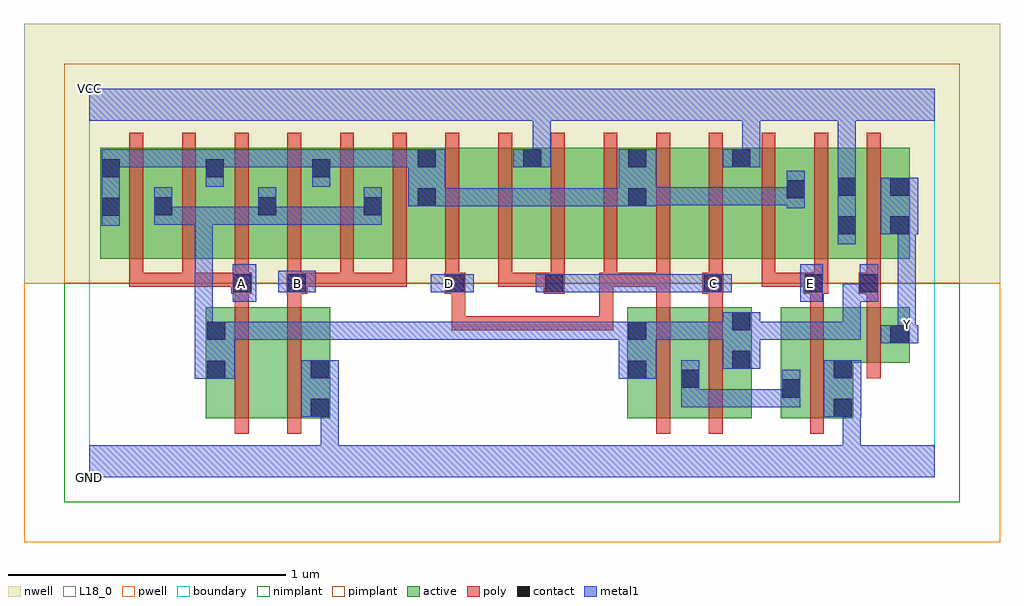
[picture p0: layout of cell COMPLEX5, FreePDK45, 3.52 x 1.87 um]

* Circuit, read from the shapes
.subckt COMPLEX5 A B C D E GND VCC Y
M1 n1 A n2 VSUBS nfet w=0.4u l=0.05u
M2 GND B n1 VSUBS nfet w=0.4u l=0.05u
M3 n3 D n2 VSUBS nfet w=0.4u l=0.05u
M4 n2 C n3 VSUBS nfet w=0.4u l=0.05u
M5 GND E n3 VSUBS nfet w=0.4u l=0.05u
M6 Y n2 GND VSUBS nfet w=0.2u l=0.05u
M7 n2 A n4 n5 pfet w=0.4u l=0.05u m=3
M8 n4 B n2 n5 pfet w=0.4u l=0.05u m=3
M9 n6 D n4 n5 pfet w=0.4u l=0.05u
M10 VCC C n6 n5 pfet w=0.4u l=0.05u
M11 n7 C VCC n5 pfet w=0.4u l=0.05u
M12 n4 D n7 n5 pfet w=0.4u l=0.05u
M13 n8 D n4 n5 pfet w=0.4u l=0.05u
M14 VCC C n8 n5 pfet w=0.4u l=0.05u
M15 n4 E VCC n5 pfet w=0.4u l=0.05u m=2
M16 Y n2 VCC n5 pfet w=0.4u l=0.05u
.ends

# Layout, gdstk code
import gdstk
lib = gdstk.Library(unit=1e-6, precision=1e-09)
def R(c, l, rs):  # rectangles x0, y0, x1, y1
    for r in rs: c.add(gdstk.rectangle(r[:2], r[2:], *l))
def A(c, l, x, y, w, h, nx, ny, dx, dy):  # array of equal rectangles
    R(c, l, [(x+i*dx, y+j*dy, x+i*dx+w, y+j*dy+h) for i in range(nx) for j in range(ny)])
active = (1, 0)
pwell = (2, 0)
nwell = (3, 0)
nimplant = (4, 0)
pimplant = (5, 0)
poly = (9, 0)
contact = (10, 0)
metal1 = (11, 0)
L18_0 = (18, 0)
boundary = (235, 0)

complex5 = lib.new_cell('COMPLEX5')
A(complex5, active, 1.18, 0.787, 0.225, 0.4, 3, 1, 0.38, 0)
A(complex5, active, 1.18, 0.907, 0.075, 0.28, 3, 1, 0.38, 0)
R(complex5, active, [(0.42,0.212,0.645,0.612), (0.645,0.212,0.87,0.612), (0.795,0.212,0.87,0.612), (1.94,0.212,2.205,0.612), (2.13,0.212,2.39,0.612), (2.495,0.212,2.755,0.612), (2.68,0.212,2.755,0.597), (0.42,0.245,0.495,0.612), (1.94,0.245,2.015,0.612), (2.13,0.245,2.205,0.492), (2.315,0.245,2.39,0.612), (2.495,0.245,2.57,0.612), (2.68,0.412,2.96,0.612), (2.885,0.412,2.96,0.612), (0.04,0.787,0.305,1.187), (0.04,0.787,0.115,1.155), (0.23,0.787,0.49,1.187), (0.415,0.787,0.68,1.187), (0.605,0.787,0.875,1.187), (0.8,0.787,1.06,1.187), (0.985,0.787,1.255,1.187), (1.405,0.787,1.635,1.187), (1.785,0.787,2.015,1.187), (2.165,0.787,2.39,1.187), (2.315,0.787,2.585,1.187), (2.51,0.787,2.77,1.187), (2.695,0.787,2.96,1.187), (2.885,0.787,2.96,1.155), (0.415,0.802,0.49,1.155), (0.8,0.802,0.875,1.155), (2.315,0.802,2.39,1.187), (2.695,0.87,2.77,1.155), (0.23,0.907,0.305,1.07), (0.605,0.907,0.68,1.07), (0.985,0.907,1.06,1.07), (2.51,0.907,2.585,1.155)])
R(complex5, pwell, [(-0.235,-0.235,3.285,0.7)])
R(complex5, nwell, [(-0.235,0.7,3.285,1.635)])
R(complex5, nimplant, [(-0.09,-0.09,3.14,0.7)])
R(complex5, pimplant, [(-0.09,0.7,3.14,1.49)])
A(complex5, poly, 0.145, 0.687, 0.05, 0.095, 15, 1, 0.19, 0)
A(complex5, poly, 0.145, 0.732, 0.05, 0.51, 15, 1, 0.19, 0)
R(complex5, poly, [(0.525,0.157,0.575,0.667), (0.715,0.157,0.765,0.667), (2.045,0.157,2.095,0.667), (2.235,0.157,2.285,0.667), (2.6,0.157,2.65,0.667), (2.805,0.357,2.855,0.667), (1.307,0.53,1.357,0.58), (1.307,0.53,1.357,0.58), (1.307,0.53,1.357,0.58), (1.307,0.53,1.357,0.58), (1.307,0.53,1.357,0.58), (1.307,0.53,1.557,0.58), (1.307,0.53,1.357,0.712), (1.507,0.53,1.557,0.58), (1.507,0.53,1.557,0.58), (1.507,0.53,1.557,0.58), (1.507,0.53,1.69,0.58), (1.64,0.53,1.69,0.58), (1.64,0.53,1.89,0.58), (1.84,0.53,1.89,0.58), (1.84,0.53,1.89,0.58), (1.84,0.53,1.89,0.58), (1.84,0.53,1.89,0.58), (1.84,0.53,1.89,0.58), (1.84,0.53,1.89,0.737), (0.525,0.617,0.575,0.712), (0.715,0.617,0.765,0.712), (2.045,0.617,2.095,0.737), (2.235,0.617,2.285,0.712), (2.6,0.617,2.65,0.712), (2.805,0.617,2.855,0.712), (0.512,0.662,0.587,0.737), (0.712,0.662,0.787,0.737), (1.282,0.662,1.357,0.737), (1.64,0.662,1.715,0.737), (2.212,0.662,2.287,0.737), (2.575,0.662,2.665,0.737), (2.775,0.662,2.855,0.737), (0.145,0.687,0.195,0.737), (0.145,0.687,0.195,0.737), (0.145,0.687,0.195,0.737), (0.145,0.687,0.385,0.737), (0.335,0.687,0.385,0.737), (0.335,0.687,0.385,0.737), (0.335,0.687,0.385,0.737), (0.335,0.687,0.562,0.737), (0.737,0.687,0.787,0.737), (0.737,0.687,0.787,0.737), (0.737,0.687,0.955,0.737), (0.905,0.687,0.955,0.737), (0.905,0.687,1.145,0.737), (1.095,0.687,1.145,0.737), (1.095,0.687,1.145,0.737), (1.095,0.687,1.145,0.737), (1.475,0.687,1.525,0.737), (1.475,0.687,1.69,0.737), (1.64,0.687,1.69,0.737), (1.64,0.687,1.69,0.737), (1.84,0.687,1.905,0.737), (1.855,0.687,2.095,0.737), (2.045,0.687,2.095,0.737), (2.045,0.687,2.095,0.737), (2.045,0.687,2.095,0.737), (2.425,0.687,2.475,0.737), (2.425,0.687,2.625,0.737), (2.575,0.687,2.625,0.737), (2.575,0.687,2.625,0.737)])
A(complex5, contact, 1.185, 1.117, 0.065, 0.065, 3, 1, 0.38, 0)
R(complex5, contact, [(0.8,0.217,0.865,0.282), (2.685,0.217,2.75,0.282), (2.5,0.287,2.565,0.352), (2.135,0.322,2.2,0.387), (0.425,0.355,0.49,0.42), (1.945,0.355,2.01,0.42), (0.8,0.357,0.865,0.422), (2.685,0.357,2.75,0.422), (2.32,0.39,2.385,0.455), (2.89,0.482,2.955,0.547), (0.425,0.495,0.49,0.56), (1.945,0.495,2.01,0.56), (2.32,0.53,2.385,0.595), (0.517,0.667,0.582,0.732), (0.717,0.667,0.782,0.732), (1.287,0.667,1.352,0.732), (1.645,0.667,1.71,0.732), (2.217,0.667,2.282,0.732), (2.58,0.667,2.645,0.732), (2.78,0.667,2.845,0.732), (2.7,0.875,2.765,0.94), (2.89,0.875,2.955,0.94), (0.045,0.942,0.11,1.007), (0.235,0.945,0.3,1.01), (0.61,0.945,0.675,1.01), (0.99,0.945,1.055,1.01), (1.185,0.977,1.25,1.042), (1.945,0.977,2.01,1.042), (2.515,1.005,2.58,1.07), (2.7,1.015,2.765,1.08), (2.89,1.015,2.955,1.08), (0.045,1.082,0.11,1.147), (0.42,1.082,0.485,1.147), (0.805,1.082,0.87,1.147), (2.32,1.117,2.385,1.182)])
R(complex5, metal1, [(0,0,3.05,0.115), (0.835,0.05,0.9,0.115), (0.835,0.05,0.9,0.115), (0.835,0.05,0.9,0.282), (2.717,0.05,2.782,0.115), (2.717,0.05,2.782,0.115), (2.717,0.05,2.782,0.282), (0.765,0.217,0.9,0.422), (2.65,0.217,2.785,0.422), (2.135,0.252,2.42,0.317), (2.135,0.252,2.2,0.352), (2.355,0.252,2.42,0.317), (2.355,0.252,2.475,0.317), (2.41,0.252,2.475,0.317), (2.41,0.252,2.565,0.317), (2.5,0.252,2.565,0.387), (2.135,0.287,2.2,0.352), (2.135,0.287,2.2,0.422), (0.38,0.355,0.525,0.56), (1.91,0.355,2.045,0.56), (2.285,0.39,2.42,0.595), (2.855,0.482,2.99,0.547), (2.917,0.482,2.982,0.547), (2.917,0.482,2.982,0.617), (0.38,0.495,0.445,0.975), (0.46,0.495,0.525,0.56), (0.46,0.495,0.525,0.56), (0.46,0.495,0.692,0.56), (0.627,0.495,0.692,0.56), (0.627,0.495,0.692,0.56), (0.627,0.495,0.692,0.56), (0.627,0.495,0.84,0.56), (0.775,0.495,0.84,0.56), (0.775,0.495,0.94,0.56), (0.875,0.495,0.94,0.56), (0.875,0.495,1.077,0.56), (1.012,0.495,1.077,0.56), (1.012,0.495,1.077,0.56), (1.012,0.495,1.077,0.56), (1.012,0.495,1.215,0.56), (1.15,0.495,1.215,0.56), (1.15,0.495,1.215,0.56), (1.15,0.495,1.215,0.56), (1.15,0.495,1.422,0.56), (1.357,0.495,1.422,0.56), (1.357,0.495,1.422,0.56), (1.357,0.495,1.422,0.56), (1.357,0.495,1.56,0.56), (1.495,0.495,1.56,0.56), (1.495,0.495,1.77,0.56), (1.705,0.495,1.77,0.56), (1.705,0.495,1.77,0.56), (1.705,0.495,1.77,0.56), (1.705,0.495,1.907,0.56), (1.842,0.495,1.907,0.56), (1.842,0.495,1.975,0.56), (1.98,0.495,2.045,0.56), (1.98,0.495,2.045,0.56), (1.98,0.495,2.2,0.56), (2.135,0.495,2.2,0.56), (2.135,0.495,2.2,0.56), (2.135,0.495,2.2,0.56), (2.135,0.495,2.35,0.56), (2.355,0.495,2.492,0.56), (2.427,0.495,2.492,0.56), (2.427,0.495,2.557,0.56), (2.492,0.495,2.557,0.56), (2.492,0.495,2.645,0.56), (2.58,0.495,2.645,0.56), (2.58,0.495,2.782,0.56), (2.717,0.495,2.782,0.56), (2.717,0.495,2.782,0.697), (2.917,0.552,2.982,0.94), (0.517,0.632,0.602,0.767), (2.565,0.632,2.645,0.767), (2.717,0.632,2.782,0.697), (2.717,0.632,2.845,0.697), (2.78,0.632,2.845,0.767), (0.682,0.667,0.817,0.745), (1.232,0.667,1.387,0.732), (1.61,0.667,1.745,0.732), (1.68,0.667,1.745,0.732), (1.68,0.667,1.745,0.732), (1.68,0.667,1.907,0.732), (1.842,0.667,1.907,0.732), (1.842,0.667,1.907,0.732), (1.842,0.667,1.907,0.732), (1.842,0.667,2.062,0.732), (1.997,0.667,2.062,0.732), (1.997,0.667,2.2,0.732), (2.135,0.667,2.2,0.732), (2.135,0.667,2.247,0.732), (2.182,0.667,2.317,0.732), (2.7,0.84,2.765,1.115), (2.855,0.875,2.99,1.08), (0.045,0.907,0.11,1.182), (0.235,0.91,0.3,0.975), (0.235,0.91,0.3,0.975), (0.235,0.91,0.3,1.045), (0.235,0.91,0.445,0.975), (0.38,0.91,0.445,0.975), (0.38,0.91,0.445,0.975), (0.38,0.91,0.445,0.975), (0.38,0.91,0.445,0.975), (0.38,0.91,0.445,0.975), (0.38,0.91,0.675,0.975), (0.61,0.91,0.675,0.975), (0.61,0.91,0.675,0.975), (0.61,0.91,0.675,1.045), (0.61,0.91,0.917,0.975), (0.852,0.91,0.917,0.975), (0.852,0.91,0.917,0.975), (0.852,0.91,0.917,0.975), (0.852,0.91,1.055,0.975), (0.99,0.91,1.055,1.045), (2.515,0.97,2.58,1.105), (1.15,0.977,1.285,1.182), (1.22,0.977,1.285,1.042), (1.22,0.977,1.285,1.042), (1.22,0.977,1.285,1.042), (1.22,0.977,1.285,1.042), (1.22,0.977,1.422,1.042), (1.357,0.977,1.422,1.042), (1.357,0.977,1.422,1.042), (1.357,0.977,1.422,1.042), (1.357,0.977,1.56,1.042), (1.495,0.977,1.56,1.042), (1.495,0.977,1.56,1.042), (1.495,0.977,1.56,1.042), (1.495,0.977,1.697,1.042), (1.632,0.977,1.697,1.042), (1.632,0.977,1.907,1.042), (1.842,0.977,1.907,1.042), (1.842,0.977,1.975,1.042), (1.91,0.977,2.045,1.182), (1.98,0.98,2.045,1.045), (1.98,0.98,2.045,1.045), (1.98,0.98,2.182,1.045), (2.117,0.98,2.182,1.045), (2.117,0.98,2.337,1.045), (2.272,0.98,2.337,1.045), (2.272,0.98,2.337,1.045), (2.272,0.98,2.337,1.045), (2.272,0.98,2.492,1.045), (2.427,0.98,2.492,1.045), (2.427,0.98,2.58,1.045), (0.42,1.047,0.485,1.182), (0.805,1.047,0.87,1.182), (2.7,1.05,2.765,1.35), (0.045,1.117,0.11,1.182), (0.045,1.117,0.11,1.182), (0.045,1.117,0.27,1.182), (0.205,1.117,0.27,1.182), (0.205,1.117,0.27,1.182), (0.205,1.117,0.27,1.182), (0.205,1.117,0.485,1.182), (0.42,1.117,0.485,1.182), (0.42,1.117,0.485,1.182), (0.42,1.117,0.692,1.182), (0.627,1.117,0.692,1.182), (0.627,1.117,0.692,1.182), (0.627,1.117,0.692,1.182), (0.627,1.117,0.87,1.182), (0.805,1.117,0.87,1.182), (0.805,1.117,0.87,1.182), (0.805,1.117,1.077,1.182), (1.012,1.117,1.077,1.182), (1.012,1.117,1.077,1.182), (1.012,1.117,1.077,1.182), (1.012,1.117,1.215,1.182), (1.53,1.117,1.665,1.182), (1.6,1.117,1.665,1.35), (2.285,1.117,2.42,1.182), (2.355,1.117,2.42,1.35), (0,1.285,3.05,1.4)])
R(complex5, L18_0, [(0,0,3.05,0.115), (0.835,0.05,0.9,0.115), (0.835,0.05,0.9,0.115), (0.835,0.05,0.9,0.282), (2.717,0.05,2.782,0.115), (2.717,0.05,2.782,0.115), (2.717,0.05,2.782,0.282), (0.765,0.217,0.9,0.422), (2.65,0.217,2.785,0.422), (2.855,0.482,2.99,0.547), (2.917,0.482,2.982,0.547), (2.917,0.482,2.982,0.617), (2.917,0.517,2.982,0.582), (2.917,0.552,2.982,0.94), (0.517,0.632,0.602,0.767), (2.565,0.632,2.645,0.767), (0.517,0.667,0.582,0.732), (0.682,0.667,0.817,0.745), (0.717,0.667,0.782,0.732), (1.232,0.667,1.387,0.732), (1.267,0.667,1.332,0.732), (1.61,0.667,1.745,0.732), (1.68,0.667,1.745,0.732), (1.68,0.667,1.745,0.732), (1.68,0.667,1.907,0.732), (1.842,0.667,1.907,0.732), (1.842,0.667,1.907,0.732), (1.842,0.667,1.907,0.732), (1.842,0.667,2.062,0.732), (1.997,0.667,2.062,0.732), (1.997,0.667,2.2,0.732), (2.135,0.667,2.2,0.732), (2.135,0.667,2.247,0.732), (2.182,0.667,2.317,0.732), (2.217,0.667,2.282,0.732), (2.567,0.667,2.632,0.732), (2.7,0.84,2.765,1.115), (2.855,0.875,2.99,1.08), (2.7,1.05,2.765,1.35), (1.53,1.117,1.665,1.182), (1.6,1.117,1.665,1.35), (2.285,1.117,2.42,1.182), (2.355,1.117,2.42,1.35), (0,1.285,3.05,1.4)])
R(complex5, boundary, [(0,0,3.05,1.4)])
complex5.add(gdstk.Label('A', (0.55,0.7), layer=11, texttype=0))
complex5.add(gdstk.Label('B', (0.75,0.7), layer=11, texttype=0))
complex5.add(gdstk.Label('C', (2.25,0.7), layer=11, texttype=0))
complex5.add(gdstk.Label('D', (1.3,0.7), layer=11, texttype=0))
complex5.add(gdstk.Label('E', (2.6,0.7), layer=11, texttype=0))
complex5.add(gdstk.Label('Y', (2.95,0.55), layer=11, texttype=0))
complex5.add(gdstk.Label('VCC', (0,1.4), layer=11, texttype=0))
complex5.add(gdstk.Label('GND', (0,0), layer=11, texttype=0))

lib.write_gds('COMPLEX5.gds')
